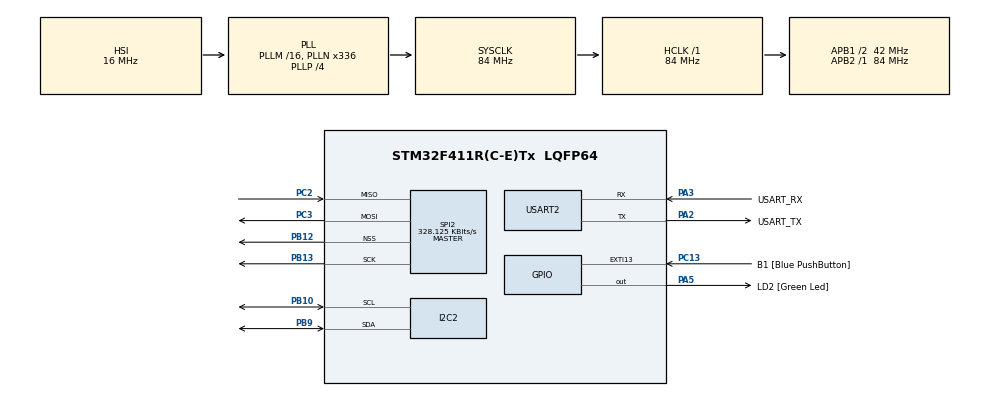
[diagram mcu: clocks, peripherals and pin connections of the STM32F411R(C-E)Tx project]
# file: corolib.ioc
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ADC1.Channel-0\#ChannelRegularConversion=ADC_CHANNEL_TEMPSENSOR
ADC1.Channel-16\#ChannelRegularConversion=ADC_CHANNEL_TEMPSENSOR
ADC1.Channel-17\#ChannelRegularConversion=ADC_CHANNEL_TEMPSENSOR
ADC1.Channel-18\#ChannelRegularConversion=ADC_CHANNEL_TEMPSENSOR
ADC1.Channel-19\#ChannelRegularConversion=ADC_CHANNEL_TEMPSENSOR
ADC1.Channel-20\#ChannelRegularConversion=ADC_CHANNEL_TEMPSENSOR
ADC1.Channel-21\#ChannelRegularConversion=ADC_CHANNEL_TEMPSENSOR
ADC1.Channel-22\#ChannelRegularConversion=ADC_CHANNEL_TEMPSENSOR
ADC1.Channel-23\#ChannelRegularConversion=ADC_CHANNEL_TEMPSENSOR
ADC1.Channel-24\#ChannelRegularConversion=ADC_CHANNEL_TEMPSENSOR
ADC1.Channel-25\#ChannelRegularConversion=ADC_CHANNEL_TEMPSENSOR
ADC1.Channel-26\#ChannelRegularConversion=ADC_CHANNEL_TEMPSENSOR
ADC1.Channel-27\#ChannelRegularConversion=ADC_CHANNEL_TEMPSENSOR
ADC1.Channel-28\#ChannelRegularConversion=ADC_CHANNEL_TEMPSENSOR
ADC1.Channel-29\#ChannelRegularConversion=ADC_CHANNEL_TEMPSENSOR
ADC1.Channel-30\#ChannelRegularConversion=ADC_CHANNEL_TEMPSENSOR
ADC1.ContinuousConvMode=ENABLE
ADC1.DMAContinuousRequests=ENABLE
ADC1.InjNumberOfConversion=0
ADC1.NbrOfConversion=16
ADC1.NbrOfConversionFlag=1
ADC1.Rank-0\#ChannelRegularConversion=1
ADC1.Rank-16\#ChannelRegularConversion=2
ADC1.Rank-17\#ChannelRegularConversion=3
ADC1.Rank-18\#ChannelRegularConversion=4
ADC1.Rank-19\#ChannelRegularConversion=5
ADC1.Rank-20\#ChannelRegularConversion=6
ADC1.Rank-21\#ChannelRegularConversion=7
ADC1.Rank-22\#ChannelRegularConversion=8
ADC1.Rank-23\#ChannelRegularConversion=9
ADC1.Rank-24\#ChannelRegularConversion=10
ADC1.Rank-25\#ChannelRegularConversion=11
ADC1.Rank-26\#ChannelRegularConversion=12
ADC1.Rank-27\#ChannelRegularConversion=13
ADC1.Rank-28\#ChannelRegularConversion=14
ADC1.Rank-29\#ChannelRegularConversion=15
ADC1.Rank-30\#ChannelRegularConversion=16
ADC1.SamplingTime-0\#ChannelRegularConversion=ADC_SAMPLETIME_3CYCLES
ADC1.SamplingTime-16\#ChannelRegularConversion=ADC_SAMPLETIME_3CYCLES
ADC1.SamplingTime-17\#ChannelRegularConversion=ADC_SAMPLETIME_3CYCLES
ADC1.SamplingTime-18\#ChannelRegularConversion=ADC_SAMPLETIME_3CYCLES
ADC1.SamplingTime-19\#ChannelRegularConversion=ADC_SAMPLETIME_3CYCLES
ADC1.SamplingTime-20\#ChannelRegularConversion=ADC_SAMPLETIME_3CYCLES
ADC1.SamplingTime-21\#ChannelRegularConversion=ADC_SAMPLETIME_3CYCLES
ADC1.SamplingTime-22\#ChannelRegularConversion=ADC_SAMPLETIME_3CYCLES
ADC1.SamplingTime-23\#ChannelRegularConversion=ADC_SAMPLETIME_3CYCLES
ADC1.SamplingTime-24\#ChannelRegularConversion=ADC_SAMPLETIME_3CYCLES
ADC1.SamplingTime-25\#ChannelRegularConversion=ADC_SAMPLETIME_3CYCLES
ADC1.SamplingTime-26\#ChannelRegularConversion=ADC_SAMPLETIME_3CYCLES
ADC1.SamplingTime-27\#ChannelRegularConversion=ADC_SAMPLETIME_3CYCLES
ADC1.SamplingTime-28\#ChannelRegularConversion=ADC_SAMPLETIME_3CYCLES
ADC1.SamplingTime-29\#ChannelRegularConversion=ADC_SAMPLETIME_3CYCLES
ADC1.SamplingTime-30\#ChannelRegularConversion=ADC_SAMPLETIME_3CYCLES
ADC1.master=1
Dma.ADC1.0.Direction=DMA_PERIPH_TO_MEMORY
Dma.ADC1.0.FIFOMode=DMA_FIFOMODE_DISABLE
Dma.ADC1.0.Instance=DMA2_Stream0
Dma.ADC1.0.MemDataAlignment=DMA_MDATAALIGN_HALFWORD
Dma.ADC1.0.MemInc=DMA_MINC_ENABLE
Dma.ADC1.0.Mode=DMA_NORMAL
Dma.ADC1.0.PeriphDataAlignment=DMA_PDATAALIGN_HALFWORD
Dma.ADC1.0.PeriphInc=DMA_PINC_DISABLE
Dma.ADC1.0.Priority=DMA_PRIORITY_LOW
Dma.Request0=ADC1
Dma.Request1=SPI2_RX
Dma.Request2=SPI2_TX
Dma.SPI2_RX.1.Direction=DMA_PERIPH_TO_MEMORY
Dma.SPI2_RX.1.FIFOMode=DMA_FIFOMODE_DISABLE
Dma.SPI2_RX.1.Instance=DMA1_Stream3
Dma.SPI2_RX.1.MemDataAlignment=DMA_MDATAALIGN_BYTE
Dma.SPI2_RX.1.MemInc=DMA_MINC_ENABLE
Dma.SPI2_RX.1.Mode=DMA_NORMAL
Dma.SPI2_RX.1.PeriphDataAlignment=DMA_PDATAALIGN_BYTE
Dma.SPI2_RX.1.PeriphInc=DMA_PINC_DISABLE
Dma.SPI2_RX.1.Priority=DMA_PRIORITY_LOW
Dma.SPI2_TX.2.Direction=DMA_MEMORY_TO_PERIPH
Dma.SPI2_TX.2.FIFOMode=DMA_FIFOMODE_DISABLE
Dma.SPI2_TX.2.Instance=DMA1_Stream4
Dma.SPI2_TX.2.MemDataAlignment=DMA_MDATAALIGN_BYTE
Dma.SPI2_TX.2.MemInc=DMA_MINC_ENABLE
Dma.SPI2_TX.2.Mode=DMA_NORMAL
Dma.SPI2_TX.2.PeriphDataAlignment=DMA_PDATAALIGN_BYTE
Dma.SPI2_TX.2.PeriphInc=DMA_PINC_DISABLE
Dma.SPI2_TX.2.Priority=DMA_PRIORITY_LOW
FREERTOS.Tasks01=defaultTask,24,128,StartDefaultTask,Default,NULL,Dynamic,NULL,NULL
FREERTOS.configGENERATE_RUN_TIME_STATS=1
FREERTOS.configTIMER_TASK_PRIORITY=2
FREERTOS.configTOTAL_HEAP_SIZE=35600
FREERTOS.configUSE_NEWLIB_REENTRANT=1
FREERTOS.configUSE_STATS_FORMATTING_FUNCTIONS=1
I2C2.OwnAddress=35
Mcu.Family=STM32F4
Mcu.Name=STM32F411R(C-E)Tx
Mcu.Package=LQFP64
NVIC.DMA1_Stream3_IRQn=true\:5\:0\:false\:false\:true\:true\:false\:true\:true
NVIC.DMA1_Stream4_IRQn=true\:5\:0\:false\:false\:true\:true\:false\:true\:true
NVIC.DMA2_Stream0_IRQn=true\:5\:0\:false\:false\:true\:true\:false\:true\:true
NVIC.I2C2_EV_IRQn=true\:5\:0\:false\:false\:true\:true\:true\:true\:true
NVIC.PriorityGroup=NVIC_PRIORITYGROUP_4
NVIC.TIM1_UP_TIM10_IRQn=true\:5\:0\:false\:false\:true\:true\:true\:true\:true
NVIC.TIM5_IRQn=true\:15\:0\:true\:false\:true\:false\:false\:true\:true
NVIC.TimeBase=TIM5_IRQn
NVIC.TimeBaseIP=TIM5
NVIC.USART2_IRQn=true\:15\:0\:true\:false\:true\:true\:true\:true\:true
PA13.GPIO_Label=TMS
PA13.Mode=Trace_Asynchronous_SW
PA13.Signal=SYS_JTMS-SWDIO
PA14.GPIO_Label=TCK
PA14.Mode=Trace_Asynchronous_SW
PA14.Signal=SYS_JTCK-SWCLK
PA2.GPIO_Label=USART_TX
PA2.Mode=Asynchronous
PA2.Signal=USART2_TX
PA3.GPIO_Label=USART_RX
PA3.Mode=Asynchronous
PA3.Signal=USART2_RX
PA5.GPIO_Label=LD2 [Green Led]
PA5.Signal=GPIO_Output
PB10.GPIO_Pu=GPIO_PULLUP
PB10.Mode=I2C
PB10.Signal=I2C2_SCL
PB12.GPIO_PuPd=GPIO_NOPULL
PB12.Mode=NSS_Signal_Hard_Output
PB12.Signal=SPI2_NSS
PB13.GPIO_PuPd=GPIO_NOPULL
PB13.Mode=Full_Duplex_Master
PB13.Signal=SPI2_SCK
PB3.GPIO_Label=SWO
PB3.Mode=Trace_Asynchronous_SW
PB3.Signal=SYS_JTDO-SWO
PB9.GPIO_Pu=GPIO_PULLUP
PB9.Mode=I2C
PB9.Signal=I2C2_SDA
PC13-ANTI_TAMP.GPIO_Label=B1 [Blue PushButton]
PC13-ANTI_TAMP.GPIO_ModeDefaultEXTI=GPIO_MODE_IT_FALLING
PC13-ANTI_TAMP.Signal=GPXTI13
PC14-OSC32_IN.Mode=LSE-External-Oscillator
PC14-OSC32_IN.Signal=RCC_OSC32_IN
PC15-OSC32_OUT.Mode=LSE-External-Oscillator
PC15-OSC32_OUT.Signal=RCC_OSC32_OUT
PC2.GPIO_PuPd=GPIO_NOPULL
PC2.Mode=Full_Duplex_Master
PC2.Signal=SPI2_MISO
PC3.GPIO_PuPd=GPIO_NOPULL
PC3.Mode=Full_Duplex_Master
PC3.Signal=SPI2_MOSI
PH0\ -\ OSC_IN.Signal=RCC_OSC_IN
PH1\ -\ OSC_OUT.Signal=RCC_OSC_OUT
ProjectManager.HeapSize=0x200
ProjectManager.StackSize=0x400
ProjectManager.TargetToolchain=STM32CubeIDE
RCC.48MHZClocksFreq_Value=84000000
RCC.AHBFreq_Value=84000000
RCC.APB1CLKDivider=RCC_HCLK_DIV2
RCC.APB1Freq_Value=42000000
RCC.APB1TimFreq_Value=84000000
RCC.APB2Freq_Value=84000000
RCC.APB2TimFreq_Value=84000000
RCC.CortexFreq_Value=84000000
RCC.FLatency-AdvancedSettings=FLASH_LATENCY_2
RCC.HCLKFreq_Value=84000000
RCC.HSE_VALUE=8000000
RCC.HSI_VALUE=16000000
RCC.PLLN=336
RCC.PLLP=RCC_PLLP_DIV4
RCC.RCC_RTC_Clock_Source=RCC_RTCCLKSOURCE_LSE
RCC.RCC_RTC_Clock_SourceVirtual=RCC_RTCCLKSOURCE_LSE
RCC.SYSCLKFreq_VALUE=84000000
RCC.SYSCLKSource=RCC_SYSCLKSOURCE_PLLCLK
RCC.VCOOutputFreq_Value=336000000
SPI2.BaudRatePrescaler=SPI_BAUDRATEPRESCALER_128
SPI2.CLKPhase=SPI_PHASE_2EDGE
SPI2.CalculateBaudRate=328.125 KBits/s
SPI2.Direction=SPI_DIRECTION_2LINES
SPI2.Mode=SPI_MODE_MASTER
SPI2.VirtualNSS=VM_NSSHARD
SPI2.VirtualType=VM_MASTER
TIM10.Period=840
USART2.VirtualMode=VM_ASYNC
VP_ADC1_TempSens_Input.Mode=IN-TempSens
VP_FREERTOS_VS_CMSIS_V2.Mode=CMSIS_V2
VP_RTC_VS_RTC_Activate.Mode=RTC_Enabled
VP_RTC_VS_RTC_Calendar.Mode=RTC_Calendar
VP_SYS_VS_tim5.Mode=TIM5
VP_TIM10_VS_ClockSourceINT.Mode=Enable_Timer
board=NUCLEO-F411RE

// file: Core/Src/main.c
/* USER CODE BEGIN Header */
/**
  ******************************************************************************
  * @file           : main.c
  * @brief          : Main program body
  ******************************************************************************
  * @attention
  *
  * Copyright (c) 2025 STMicroelectronics.
  * All rights reserved.
  *
  * This software is licensed under terms that can be found in the LICENSE file
  * in the root directory of this software component.
  * If no LICENSE file comes with this software, it is provided AS-IS.
  *
  ******************************************************************************
  */
/* USER CODE END Header */
#include "main.h"
#include "cmsis_os.h"

/* USER CODE BEGIN Includes */
#include "string.h"
/* USER CODE END Includes */

ADC_HandleTypeDef hadc1;
DMA_HandleTypeDef hdma_adc1;

I2C_HandleTypeDef hi2c2;

RTC_HandleTypeDef hrtc;

SPI_HandleTypeDef hspi2;
DMA_HandleTypeDef hdma_spi2_rx;
DMA_HandleTypeDef hdma_spi2_tx;

TIM_HandleTypeDef htim10;

UART_HandleTypeDef huart2;

/* Definitions for defaultTask */
osThreadId_t defaultTaskHandle;
const osThreadAttr_t defaultTask_attributes = {
  .name = "defaultTask",
  .stack_size = 128 * 4,
  .priority = (osPriority_t) osPriorityNormal,
};
/* USER CODE BEGIN PV */
uint16_t adcValues[16];
/* USER CODE END PV */

void SystemClock_Config(void);
static void MX_GPIO_Init(void);
static void MX_DMA_Init(void);
static void MX_USART2_UART_Init(void);
static void MX_ADC1_Init(void);
static void MX_TIM10_Init(void);
static void MX_SPI2_Init(void);
static void MX_RTC_Init(void);
static void MX_I2C2_Init(void);
void StartDefaultTask(void *argument);

/* USER CODE BEGIN 0 */
#define TRUE 1
#define FALSE 0
uint8_t send_data[100];
uint8_t  data_buffer[100];
uint8_t  recvd_data;
uint32_t count=0;
uint8_t  reception_complete = FALSE;

void HAL_UART_RxCpltCallback(UART_HandleTypeDef *huart)
{
  if(recvd_data == '\r')
  {
    reception_complete = TRUE;
    data_buffer[count++]='\r';
    HAL_UART_Transmit(huart,data_buffer,count,HAL_MAX_DELAY);
  }
  else
  {
    data_buffer[count++] = recvd_data;
  }
}

void HAL_ADC_ConvCpltCallback(ADC_HandleTypeDef *hadc)
{
    HAL_UART_Transmit_IT(&huart2, (uint8_t*)adcValues, sizeof(adcValues));
}

void HAL_SPI_TxRxCpltCallback(SPI_HandleTypeDef *hspi)
{
    uint32_t* cputicks = (uint32_t*)&data_buffer[2];
}

void HAL_I2C_MasterTxCpltCallback(I2C_HandleTypeDef *hi2c)
{
    switch (send_data[0])
    {
    case 0x31: //request RTC
        HAL_I2C_Master_Seq_Receive_IT(&hi2c2, 76, (uint8_t*)data_buffer, 7, I2C_LAST_FRAME);
        break;
    case 0x32: //reset RTC
        break;
    case 0x33: //request cpu temperature
        HAL_I2C_Master_Seq_Receive_IT(&hi2c2, 76, (uint8_t*)data_buffer, 4, I2C_LAST_FRAME);
        break;
    default:
        break;
    }
}

void HAL_I2C_MasterRxCpltCallback(I2C_HandleTypeDef *hi2c)
{
    switch (send_data[0])
    {
    case 0x31: //request RTC

        break;
    case 0x32: //reset RTC
        break;
    case 0x33: //request cpu temperature
        float slave_cpu_temperature = 0;
        uint8_t * p_temperature = (uint8_t*)(&slave_cpu_temperature);
        p_temperature[0] = data_buffer[0];
        p_temperature[1] = data_buffer[1];
        p_temperature[2] = data_buffer[2];
        p_temperature[3] = data_buffer[3];
        break;
    default:
        break;
    }
}
/* USER CODE END 0 */

int main(void)
{

  /* MCU Configuration--------------------------------------------------------*/

  /* Reset of all peripherals, Initializes the Flash interface and the Systick. */
  HAL_Init();

  /* Configure the system clock */
  SystemClock_Config();

  /* Initialize all configured peripherals */
  MX_GPIO_Init();
  MX_DMA_Init();
  MX_USART2_UART_Init();
  MX_ADC1_Init();
  MX_TIM10_Init();
  MX_SPI2_Init();
  MX_RTC_Init();
  MX_I2C2_Init();
  /* USER CODE BEGIN 2 */
  char user_data[] = "hello from micro-controller, this is a test of send\n";
  uint16_t len_of_data = strlen(user_data);
  HAL_UART_Transmit(&huart2,(uint8_t*)user_data,len_of_data,HAL_MAX_DELAY);

  HAL_ADC_Start_DMA(&hadc1, (uint32_t*)adcValues, 16);

  user_data[1] = 0;
  for (int i=0; i<30000; ++i)
  {
      user_data[1] += 1;
      HAL_SPI_TransmitReceive_DMA(&hspi2, (uint8_t*)user_data, data_buffer, 32);
      HAL_Delay(10);
  }

  send_data[0] = 0x32; //reset RTC
  send_data[1] = 25;
  send_data[2] = RTC_MONTH_JUNE;
  send_data[3] = 12;
  send_data[4] = RTC_WEEKDAY_THURSDAY;
  send_data[5] = 11;
  send_data[6] = 40;
  send_data[7] = 0;
  //HAL_I2C_Master_Transmit_IT(&hi2c2, 76, (uint8_t*)send_data, 32);
  send_data[0] = 0x33; //request RTC
  HAL_I2C_Master_Seq_Transmit_IT(&hi2c2, 76, (uint8_t*)send_data, 32, I2C_FIRST_FRAME);
  /* USER CODE END 2 */

  /* Init scheduler */
  osKernelInitialize();

  /* Create the thread(s) */
  /* creation of defaultTask */
  defaultTaskHandle = osThreadNew(StartDefaultTask, NULL, &defaultTask_attributes);

  /* Start scheduler */
  osKernelStart();

  /* We should never get here as control is now taken by the scheduler */

  /* Infinite loop */
  /* USER CODE BEGIN WHILE */
  while (1)
  {

      HAL_Delay(1000);
    /* USER CODE END WHILE */

  }
}

void SystemClock_Config(void)
{
  RCC_OscInitTypeDef RCC_OscInitStruct = {0};
  RCC_ClkInitTypeDef RCC_ClkInitStruct = {0};

  /** Configure the main internal regulator output voltage
  */
  __HAL_RCC_PWR_CLK_ENABLE();
  __HAL_PWR_VOLTAGESCALING_CONFIG(PWR_REGULATOR_VOLTAGE_SCALE1);

  /** Initializes the RCC Oscillators according to the specified parameters
  * in the RCC_OscInitTypeDef structure.
  */
  RCC_OscInitStruct.OscillatorType = RCC_OSCILLATORTYPE_HSI|RCC_OSCILLATORTYPE_LSE;
  RCC_OscInitStruct.LSEState = RCC_LSE_ON;
  RCC_OscInitStruct.HSIState = RCC_HSI_ON;
  RCC_OscInitStruct.HSICalibrationValue = RCC_HSICALIBRATION_DEFAULT;
  RCC_OscInitStruct.PLL.PLLState = RCC_PLL_ON;
  RCC_OscInitStruct.PLL.PLLSource = RCC_PLLSOURCE_HSI;
  RCC_OscInitStruct.PLL.PLLM = 16;
  RCC_OscInitStruct.PLL.PLLN = 336;
  RCC_OscInitStruct.PLL.PLLP = RCC_PLLP_DIV4;
  RCC_OscInitStruct.PLL.PLLQ = 4;
  if (HAL_RCC_OscConfig(&RCC_OscInitStruct) != HAL_OK)
  {
    Error_Handler();
  }

  /** Initializes the CPU, AHB and APB buses clocks
  */
  RCC_ClkInitStruct.ClockType = RCC_CLOCKTYPE_HCLK|RCC_CLOCKTYPE_SYSCLK
                              |RCC_CLOCKTYPE_PCLK1|RCC_CLOCKTYPE_PCLK2;
  RCC_ClkInitStruct.SYSCLKSource = RCC_SYSCLKSOURCE_PLLCLK;
  RCC_ClkInitStruct.AHBCLKDivider = RCC_SYSCLK_DIV1;
  RCC_ClkInitStruct.APB1CLKDivider = RCC_HCLK_DIV2;
  RCC_ClkInitStruct.APB2CLKDivider = RCC_HCLK_DIV1;

  if (HAL_RCC_ClockConfig(&RCC_ClkInitStruct, FLASH_LATENCY_2) != HAL_OK)
  {
    Error_Handler();
  }
}

static void MX_ADC1_Init(void)
{

  ADC_ChannelConfTypeDef sConfig = {0};

  /** Configure the global features of the ADC (Clock, Resolution, Data Alignment and number of conversion)
  */
  hadc1.Instance = ADC1;
  hadc1.Init.ClockPrescaler = ADC_CLOCK_SYNC_PCLK_DIV4;
  hadc1.Init.Resolution = ADC_RESOLUTION_12B;
  hadc1.Init.ScanConvMode = ENABLE;
  hadc1.Init.ContinuousConvMode = ENABLE;
  hadc1.Init.DiscontinuousConvMode = DISABLE;
  hadc1.Init.ExternalTrigConvEdge = ADC_EXTERNALTRIGCONVEDGE_NONE;
  hadc1.Init.ExternalTrigConv = ADC_SOFTWARE_START;
  hadc1.Init.DataAlign = ADC_DATAALIGN_RIGHT;
  hadc1.Init.NbrOfConversion = 16;
  hadc1.Init.DMAContinuousRequests = ENABLE;
  hadc1.Init.EOCSelection = ADC_EOC_SINGLE_CONV;
  if (HAL_ADC_Init(&hadc1) != HAL_OK)
  {
    Error_Handler();
  }

  /** Configure for the selected ADC regular channel its corresponding rank in the sequencer and its sample time.
  */
  sConfig.Channel = ADC_CHANNEL_TEMPSENSOR;
  sConfig.Rank = 1;
  sConfig.SamplingTime = ADC_SAMPLETIME_3CYCLES;
  if (HAL_ADC_ConfigChannel(&hadc1, &sConfig) != HAL_OK)
  {
    Error_Handler();
  }

  /** Configure for the selected ADC regular channel its corresponding rank in the sequencer and its sample time.
  */
  sConfig.Rank = 2;
  if (HAL_ADC_ConfigChannel(&hadc1, &sConfig) != HAL_OK)
  {
    Error_Handler();
  }

  /** Configure for the selected ADC regular channel its corresponding rank in the sequencer and its sample time.
  */
  sConfig.Rank = 3;
  if (HAL_ADC_ConfigChannel(&hadc1, &sConfig) != HAL_OK)
  {
    Error_Handler();
  }

  /** Configure for the selected ADC regular channel its corresponding rank in the sequencer and its sample time.
  */
  sConfig.Rank = 4;
  if (HAL_ADC_ConfigChannel(&hadc1, &sConfig) != HAL_OK)
  {
    Error_Handler();
  }

  /** Configure for the selected ADC regular channel its corresponding rank in the sequencer and its sample time.
  */
  sConfig.Rank = 5;
  if (HAL_ADC_ConfigChannel(&hadc1, &sConfig) != HAL_OK)
  {
    Error_Handler();
  }

  /** Configure for the selected ADC regular channel its corresponding rank in the sequencer and its sample time.
  */
  sConfig.Rank = 6;
  if (HAL_ADC_ConfigChannel(&hadc1, &sConfig) != HAL_OK)
  {
    Error_Handler();
  }

  /** Configure for the selected ADC regular channel its corresponding rank in the sequencer and its sample time.
  */
  sConfig.Rank = 7;
  if (HAL_ADC_ConfigChannel(&hadc1, &sConfig) != HAL_OK)
  {
    Error_Handler();
  }

  /** Configure for the selected ADC regular channel its corresponding rank in the sequencer and its sample time.
  */
  sConfig.Rank = 8;
  if (HAL_ADC_ConfigChannel(&hadc1, &sConfig) != HAL_OK)
  {
    Error_Handler();
  }

  /** Configure for the selected ADC regular channel its corresponding rank in the sequencer and its sample time.
  */
  sConfig.Rank = 9;
  if (HAL_ADC_ConfigChannel(&hadc1, &sConfig) != HAL_OK)
  {
    Error_Handler();
  }

  /** Configure for the selected ADC regular channel its corresponding rank in the sequencer and its sample time.
  */
  sConfig.Rank = 10;
  if (HAL_ADC_ConfigChannel(&hadc1, &sConfig) != HAL_OK)
  {
    Error_Handler();
  }

  /** Configure for the selected ADC regular channel its corresponding rank in the sequencer and its sample time.
  */
  sConfig.Rank = 11;
  if (HAL_ADC_ConfigChannel(&hadc1, &sConfig) != HAL_OK)
  {
    Error_Handler();
  }

  /** Configure for the selected ADC regular channel its corresponding rank in the sequencer and its sample time.
  */
  sConfig.Rank = 12;
  if (HAL_ADC_ConfigChannel(&hadc1, &sConfig) != HAL_OK)
  {
    Error_Handler();
  }

  /** Configure for the selected ADC regular channel its corresponding rank in the sequencer and its sample time.
  */
  sConfig.Rank = 13;
  if (HAL_ADC_ConfigChannel(&hadc1, &sConfig) != HAL_OK)
  {
    Error_Handler();
  }

  /** Configure for the selected ADC regular channel its corresponding rank in the sequencer and its sample time.
  */
  sConfig.Rank = 14;
  if (HAL_ADC_ConfigChannel(&hadc1, &sConfig) != HAL_OK)
  {
    Error_Handler();
  }

  /** Configure for the selected ADC regular channel its corresponding rank in the sequencer and its sample time.
  */
  sConfig.Rank = 15;
  if (HAL_ADC_ConfigChannel(&hadc1, &sConfig) != HAL_OK)
  {
    Error_Handler();
  }

  /** Configure for the selected ADC regular channel its corresponding rank in the sequencer and its sample time.
  */
  sConfig.Rank = 16;
  if (HAL_ADC_ConfigChannel(&hadc1, &sConfig) != HAL_OK)
  {
    Error_Handler();
  }

}

static void MX_I2C2_Init(void)
{

  hi2c2.Instance = I2C2;
  hi2c2.Init.ClockSpeed = 100000;
  hi2c2.Init.DutyCycle = I2C_DUTYCYCLE_2;
  hi2c2.Init.OwnAddress1 = 70;
  hi2c2.Init.AddressingMode = I2C_ADDRESSINGMODE_7BIT;
  hi2c2.Init.DualAddressMode = I2C_DUALADDRESS_DISABLE;
  hi2c2.Init.OwnAddress2 = 0;
  hi2c2.Init.GeneralCallMode = I2C_GENERALCALL_DISABLE;
  hi2c2.Init.NoStretchMode = I2C_NOSTRETCH_DISABLE;
  if (HAL_I2C_Init(&hi2c2) != HAL_OK)
  {
    Error_Handler();
  }

}

static void MX_RTC_Init(void)
{

  RTC_TimeTypeDef sTime = {0};
  RTC_DateTypeDef sDate = {0};

  /** Initialize RTC Only
  */
  hrtc.Instance = RTC;
  hrtc.Init.HourFormat = RTC_HOURFORMAT_24;
  hrtc.Init.AsynchPrediv = 127;
  hrtc.Init.SynchPrediv = 255;
  hrtc.Init.OutPut = RTC_OUTPUT_DISABLE;
  hrtc.Init.OutPutPolarity = RTC_OUTPUT_POLARITY_HIGH;
  hrtc.Init.OutPutType = RTC_OUTPUT_TYPE_OPENDRAIN;
  if (HAL_RTC_Init(&hrtc) != HAL_OK)
  {
    Error_Handler();
  }

  /** Initialize RTC and set the Time and Date
  */
  sTime.Hours = 0x0;
  sTime.Minutes = 0x0;
  sTime.Seconds = 0x0;
  sTime.DayLightSaving = RTC_DAYLIGHTSAVING_NONE;
  sTime.StoreOperation = RTC_STOREOPERATION_RESET;
  if (HAL_RTC_SetTime(&hrtc, &sTime, RTC_FORMAT_BCD) != HAL_OK)
  {
    Error_Handler();
  }
  sDate.WeekDay = RTC_WEEKDAY_MONDAY;
  sDate.Month = RTC_MONTH_JANUARY;
  sDate.Date = 0x1;
  sDate.Year = 0x0;

  if (HAL_RTC_SetDate(&hrtc, &sDate, RTC_FORMAT_BCD) != HAL_OK)
  {
    Error_Handler();
  }

}

static void MX_SPI2_Init(void)
{

  /* SPI2 parameter configuration*/
  hspi2.Instance = SPI2;
  hspi2.Init.Mode = SPI_MODE_MASTER;
  hspi2.Init.Direction = SPI_DIRECTION_2LINES;
  hspi2.Init.DataSize = SPI_DATASIZE_8BIT;
  hspi2.Init.CLKPolarity = SPI_POLARITY_LOW;
  hspi2.Init.CLKPhase = SPI_PHASE_2EDGE;
  hspi2.Init.NSS = SPI_NSS_HARD_OUTPUT;
  hspi2.Init.BaudRatePrescaler = SPI_BAUDRATEPRESCALER_128;
  hspi2.Init.FirstBit = SPI_FIRSTBIT_MSB;
  hspi2.Init.TIMode = SPI_TIMODE_DISABLE;
  hspi2.Init.CRCCalculation = SPI_CRCCALCULATION_DISABLE;
  hspi2.Init.CRCPolynomial = 10;
  if (HAL_SPI_Init(&hspi2) != HAL_OK)
  {
    Error_Handler();
  }

}

static void MX_TIM10_Init(void)
{

  htim10.Instance = TIM10;
  htim10.Init.Prescaler = 0;
  htim10.Init.CounterMode = TIM_COUNTERMODE_UP;
  htim10.Init.Period = 840;
  htim10.Init.ClockDivision = TIM_CLOCKDIVISION_DIV1;
  htim10.Init.AutoReloadPreload = TIM_AUTORELOAD_PRELOAD_DISABLE;
  if (HAL_TIM_Base_Init(&htim10) != HAL_OK)
  {
    Error_Handler();
  }

}

static void MX_USART2_UART_Init(void)
{

  huart2.Instance = USART2;
  huart2.Init.BaudRate = 115200;
  huart2.Init.WordLength = UART_WORDLENGTH_8B;
  huart2.Init.StopBits = UART_STOPBITS_1;
  huart2.Init.Parity = UART_PARITY_NONE;
  huart2.Init.Mode = UART_MODE_TX_RX;
  huart2.Init.HwFlowCtl = UART_HWCONTROL_NONE;
  huart2.Init.OverSampling = UART_OVERSAMPLING_16;
  if (HAL_UART_Init(&huart2) != HAL_OK)
  {
    Error_Handler();
  }

}

static void MX_DMA_Init(void)
{

  /* DMA controller clock enable */
  __HAL_RCC_DMA2_CLK_ENABLE();
  __HAL_RCC_DMA1_CLK_ENABLE();

  /* DMA interrupt init */
  /* DMA1_Stream3_IRQn interrupt configuration */
  HAL_NVIC_SetPriority(DMA1_Stream3_IRQn, 5, 0);
  HAL_NVIC_EnableIRQ(DMA1_Stream3_IRQn);
  /* DMA1_Stream4_IRQn interrupt configuration */
  HAL_NVIC_SetPriority(DMA1_Stream4_IRQn, 5, 0);
  HAL_NVIC_EnableIRQ(DMA1_Stream4_IRQn);
  /* DMA2_Stream0_IRQn interrupt configuration */
  HAL_NVIC_SetPriority(DMA2_Stream0_IRQn, 5, 0);
  HAL_NVIC_EnableIRQ(DMA2_Stream0_IRQn);

}

static void MX_GPIO_Init(void)
{
  GPIO_InitTypeDef GPIO_InitStruct = {0};

  /* GPIO Ports Clock Enable */
  __HAL_RCC_GPIOC_CLK_ENABLE();
  __HAL_RCC_GPIOH_CLK_ENABLE();
  __HAL_RCC_GPIOA_CLK_ENABLE();
  __HAL_RCC_GPIOB_CLK_ENABLE();

  /*Configure GPIO pin Output Level */
  HAL_GPIO_WritePin(LD2_GPIO_Port, LD2_Pin, GPIO_PIN_RESET);

  /*Configure GPIO pin : B1_Pin */
  GPIO_InitStruct.Pin = B1_Pin;
  GPIO_InitStruct.Mode = GPIO_MODE_IT_FALLING;
  GPIO_InitStruct.Pull = GPIO_NOPULL;
  HAL_GPIO_Init(B1_GPIO_Port, &GPIO_InitStruct);

  /*Configure GPIO pin : LD2_Pin */
  GPIO_InitStruct.Pin = LD2_Pin;
  GPIO_InitStruct.Mode = GPIO_MODE_OUTPUT_PP;
  GPIO_InitStruct.Pull = GPIO_NOPULL;
  GPIO_InitStruct.Speed = GPIO_SPEED_FREQ_LOW;
  HAL_GPIO_Init(LD2_GPIO_Port, &GPIO_InitStruct);

}

void StartDefaultTask(void *argument)
{
  for(;;)
  {
    osDelay(1);
  }
}

void HAL_TIM_PeriodElapsedCallback(TIM_HandleTypeDef *htim)
{
  if (htim->Instance == TIM5)
  {
    HAL_IncTick();
  }
}

void Error_Handler(void)
{
  __disable_irq();
  while (1)
  {
  }
}
